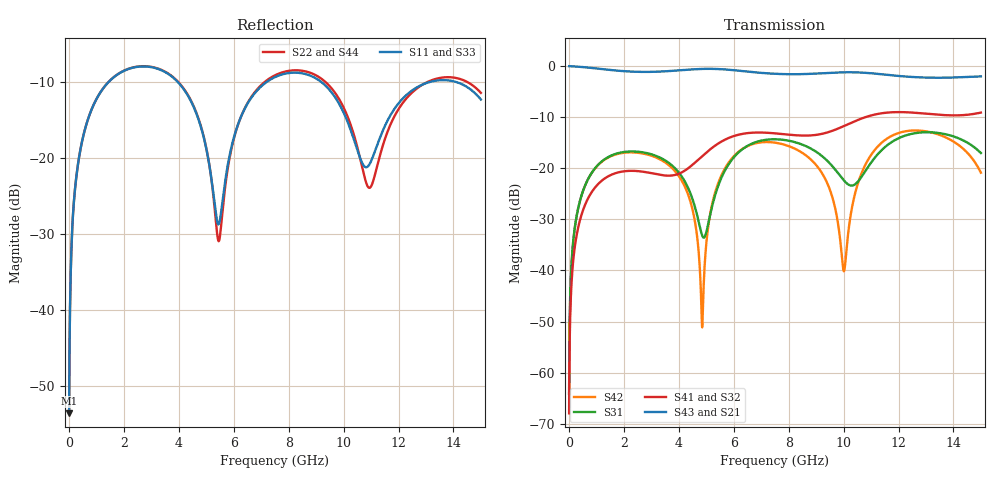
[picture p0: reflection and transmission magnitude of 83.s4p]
! Created with skrf 1.8.0 (http://scikit-rf.org).
# GHz S RI R 50.0
!freq ReS11 ImS11 ReS12 ImS12 ReS13 ImS13
! ReS14 ImS14
! ReS21 ImS21 ReS22 ImS22 ReS23 ImS23
! ReS24 ImS24
! ReS31 ImS31 ReS32 ImS32 ReS33 ImS33
! ReS34 ImS34
! ReS41 ImS41 ReS42 ImS42 ReS43 ImS43
! ReS44 ImS44
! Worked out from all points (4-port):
!   2499 points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, 5 MHz to 15 GHz, reference 50 ohm
!   strongest paths, dB at 5 MHz, 3.476 GHz, 7.19 GHz, 11.1 GHz, 15 GHz:
!     S43: 0.0, -1.0, -1.4, -1.4, -2.0
!     S21: 0.0, -1.0, -1.4, -1.4, -2.0
!     S41: -68.0, -21.4, -13.0, -9.5, -9.1
!     S32: -68.0, -21.5, -13.1, -9.5, -9.1
!     S31: -64.1, -18.4, -14.4, -18.2, -17.0
!     S42: -64.1, -18.8, -14.9, -16.7, -20.9
!   lowest |S11| = -53.6 dB at 5 MHz (marker M1), VSWR 1.00, Z = 50.2 + j0.127 ohm
!   |S11| at or under -10 dB: start of sweep to 1.46 GHz; 3.946 GHz to 7.223 GHz (3.277 GHz wide, 58.7 % of centre); 9.164 GHz to 13.21 GHz (4.043 GHz wide, 36.1 % of centre) (the widest 3 of 4)
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0.005  0.00165 0.00126  0.9983 -0.00321  8.17e-05 0.000616  -7.95e-05 -0.000392
       0.9983 -0.00321  0.00165 0.00126  -7.95e-05 -0.000392  8.16e-05 0.000616
       8.17e-05 0.000616  -7.95e-05 -0.000392  0.00165 0.00126  0.9983 -0.00321
       -7.95e-05 -0.000392  8.16e-05 0.000616  0.9983 -0.00321  0.00165 0.00126
0.3126303  0.0243 0.0829  0.9669 -0.2  0.0108 0.0365  -0.00887 -0.023
           0.9669 -0.2  0.0243 0.0829  -0.00886 -0.023  0.0104 0.0366
           0.0108 0.0365  -0.00886 -0.023  0.0243 0.0829  0.9669 -0.2
           -0.00887 -0.023  0.0104 0.0366  0.9669 -0.2  0.0243 0.0829
1.519383  0.267 0.1834  0.5579 -0.7257  0.1207 0.0547  -0.0855 -0.00785
          0.5579 -0.7257  0.2687 0.1822  -0.0853 -0.00803  0.1162 0.0607
          0.1207 0.0547  -0.0853 -0.00803  0.2671 0.1833  0.5579 -0.7257
          -0.0855 -0.00785  0.1162 0.0607  0.5579 -0.7257  0.2686 0.1823
4.848636  0.0796 -0.1258  -0.8554 -0.3851  -0.0193 -0.0107  -0.0488 0.122
          -0.8554 -0.3851  0.0726 -0.132  -0.0512 0.121  -0.00261 -0.000957
          -0.0193 -0.0107  -0.0512 0.121  0.079 -0.1258  -0.8554 -0.3852
          -0.0488 0.122  -0.00261 -0.000957  -0.8554 -0.3852  0.073 -0.1315
8.441017  0.3577 -0.0319  0.0149 0.8337  0.1323 -0.1109  0.1979 -0.068
          0.0149 0.8337  0.3704 -0.0459  0.1979 -0.0611  0.133 -0.057
          0.1323 -0.1109  0.1979 -0.0611  0.3579 -0.0339  0.0145 0.834
          0.1979 -0.068  0.133 -0.057  0.0145 0.834  0.3686 -0.0438
10.01042  0.1506 -0.1253  0.6778 0.5435  -0.0563 -0.0512  0.1521 -0.2097
          0.6778 0.5435  0.143 -0.1557  0.1604 -0.2033  -0.00914 -0.00356
          -0.0563 -0.0512  0.1604 -0.2033  0.1473 -0.1261  0.6779 0.544
          0.1521 -0.2097  -0.00914 -0.00356  0.6779 0.544  0.144 -0.1531
15  0.2121 -0.1139  -0.3934 -0.6872  0.00691 -0.1408  -0.2806 0.2106
    -0.3934 -0.6872  0.2209 -0.1485  -0.2917 0.1912  0.0334 -0.0841
    0.00691 -0.1408  -0.2917 0.1912  0.2071 -0.1215  -0.3922 -0.6887
    -0.2806 0.2106  0.0334 -0.0841  -0.3922 -0.6887  0.222 -0.1392
